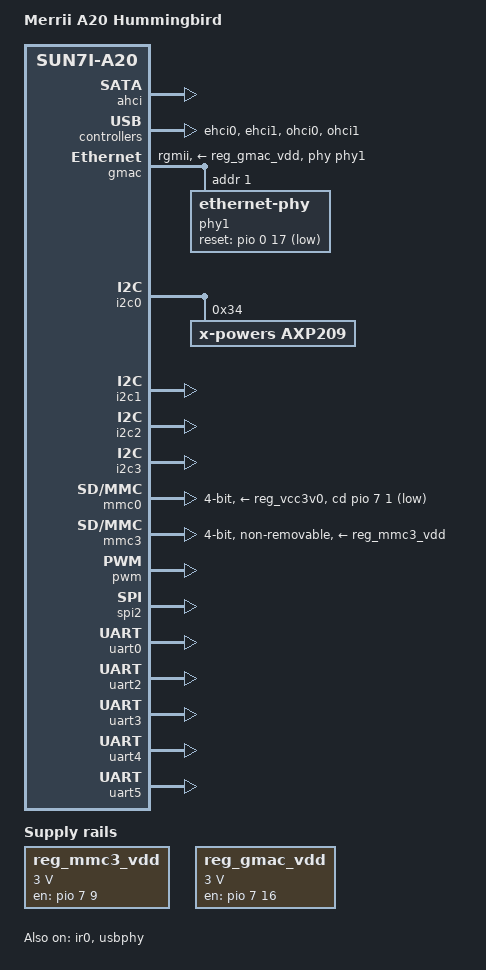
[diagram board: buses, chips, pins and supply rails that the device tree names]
/*
 * Copyright 2013 Wills Wang
 *
 * Wills Wang <wills.wang.open@gmail.com>
 *
 * This file is dual-licensed: you can use it either under the terms
 * of the GPL or the X11 license, at your option. Note that this dual
 * licensing only applies to this file, and not this project as a
 * whole.
 *
 *  a) This file is free software; you can redistribute it and/or
 *     modify it under the terms of the GNU General Public License as
 *     published by the Free Software Foundation; either version 2 of the
 *     License, or (at your option) any later version.
 *
 *     This file is distributed in the hope that it will be useful,
 *     but WITHOUT ANY WARRANTY; without even the implied warranty of
 *     MERCHANTABILITY or FITNESS FOR A PARTICULAR PURPOSE.  See the
 *     GNU General Public License for more details.
 *
 * Or, alternatively,
 *
 *  b) Permission is hereby granted, free of charge, to any person
 *     obtaining a copy of this software and associated documentation
 *     files (the "Software"), to deal in the Software without
 *     restriction, including without limitation the rights to use,
 *     copy, modify, merge, publish, distribute, sublicense, and/or
 *     sell copies of the Software, and to permit persons to whom the
 *     Software is furnished to do so, subject to the following
 *     conditions:
 *
 *     The above copyright notice and this permission notice shall be
 *     included in all copies or substantial portions of the Software.
 *
 *     THE SOFTWARE IS PROVIDED "AS IS", WITHOUT WARRANTY OF ANY KIND,
 *     EXPRESS OR IMPLIED, INCLUDING BUT NOT LIMITED TO THE WARRANTIES
 *     OF MERCHANTABILITY, FITNESS FOR A PARTICULAR PURPOSE AND
 *     NONINFRINGEMENT. IN NO EVENT SHALL THE AUTHORS OR COPYRIGHT
 *     HOLDERS BE LIABLE FOR ANY CLAIM, DAMAGES OR OTHER LIABILITY,
 *     WHETHER IN AN ACTION OF CONTRACT, TORT OR OTHERWISE, ARISING
 *     FROM, OUT OF OR IN CONNECTION WITH THE SOFTWARE OR THE USE OR
 *     OTHER DEALINGS IN THE SOFTWARE.
 */

/dts-v1/;
#include "sun7i-a20.dtsi"
#include "sunxi-common-regulators.dtsi"

#include <dt-bindings/gpio/gpio.h>
#include <dt-bindings/interrupt-controller/irq.h>

/ {
	model = "Merrii A20 Hummingbird";
	compatible = "merrii,a20-hummingbird", "allwinner,sun7i-a20";

	aliases {
		serial0 = &uart0;
		serial1 = &uart2;
		serial2 = &uart3;
		serial3 = &uart4;
		serial4 = &uart5;
	};

	chosen {
		stdout-path = "serial0:115200n8";
	};

	reg_mmc3_vdd: mmc3_vdd {
		compatible = "regulator-fixed";
		regulator-name = "mmc3_vdd";
		regulator-min-microvolt = <3000000>;
		regulator-max-microvolt = <3000000>;
		enable-active-high;
		gpio = <&pio 7 9 GPIO_ACTIVE_HIGH>; /* PH9 */
	};

	reg_gmac_vdd: gmac_vdd {
		compatible = "regulator-fixed";
		regulator-name = "gmac_vdd";
		regulator-min-microvolt = <3000000>;
		regulator-max-microvolt = <3000000>;
		enable-active-high;
		gpio = <&pio 7 16 GPIO_ACTIVE_HIGH>; /* PH16 */
	};
};

&ahci {
	target-supply = <&reg_ahci_5v>;
	status = "okay";
};

&ehci0 {
	status = "okay";
};

&ehci1 {
	status = "okay";
};

&gmac {
	pinctrl-names = "default";
	pinctrl-0 = <&gmac_rgmii_pins>;
	phy-handle = <&phy1>;
	phy-mode = "rgmii";
	phy-supply = <&reg_gmac_vdd>;
	status = "okay";

	phy1: ethernet-phy@1 {
		reg = <1>;
		reset-gpios = <&pio 0 17 GPIO_ACTIVE_LOW>; /* PA17 */
		reset-assert-us = <10000>;
		/* wait 1s after reset, otherwise fail to read phy id */
		reset-deassert-us = <1000000>;
	};
};

&i2c0 {
	status = "okay";

	axp209: pmic@34 {
		compatible = "x-powers,axp209";
		reg = <0x34>;
		interrupt-parent = <&nmi_intc>;
		interrupts = <0 IRQ_TYPE_LEVEL_LOW>;
		interrupt-controller;
		#interrupt-cells = <1>;
	};
};

&i2c1 {
	status = "okay";
};

&i2c2 {
	status = "okay";
};

&i2c3 {
	status = "okay";
};

&ir0 {
	pinctrl-names = "default";
	pinctrl-0 = <&ir0_rx_pin>;
	status = "okay";
};

&mmc0 {
	vmmc-supply = <&reg_vcc3v0>;
	bus-width = <4>;
	cd-gpios = <&pio 7 1 GPIO_ACTIVE_LOW>; /* PH1 */
	status = "okay";
};

&mmc3 {
	vmmc-supply = <&reg_mmc3_vdd>;
	bus-width = <4>;
	non-removable;
	status = "okay";
};

&ohci0 {
	status = "okay";
};

&ohci1 {
	status = "okay";
};

&pwm {
	pinctrl-names = "default";
	pinctrl-0 = <&pwm0_pin>;
	status = "okay";
};

&reg_ahci_5v {
	gpio = <&pio 7 15 GPIO_ACTIVE_HIGH>; /* PH15 */
	status = "okay";
};

&reg_usb1_vbus {
	gpio = <&pio 7 2 GPIO_ACTIVE_HIGH>; /* PH2 */
	status = "okay";
};

&reg_usb2_vbus {
	status = "okay";
};

&spi2 {
	pinctrl-names = "default";
	pinctrl-0 = <&spi2_pb_pins>,
		    <&spi2_cs0_pb_pin>;
	status = "okay";
};

&uart0 {
	pinctrl-names = "default";
	pinctrl-0 = <&uart0_pb_pins>;
	status = "okay";
};

&uart2 {
	pinctrl-names = "default";
	pinctrl-0 = <&uart2_pi_pins>, <&uart2_cts_rts_pi_pins>;
	status = "okay";
};

&uart3 {
	pinctrl-names = "default";
	pinctrl-0 = <&uart3_pg_pins>, <&uart3_cts_rts_pg_pins>;
	status = "okay";
};

&uart4 {
	pinctrl-names = "default";
	pinctrl-0 = <&uart4_pg_pins>;
	status = "okay";
};

&uart5 {
	pinctrl-names = "default";
	pinctrl-0 = <&uart5_pi_pins>;
	status = "okay";
};

&usbphy {
	usb1_vbus-supply = <&reg_usb1_vbus>;
	usb2_vbus-supply = <&reg_usb2_vbus>;
	status = "okay";
};
